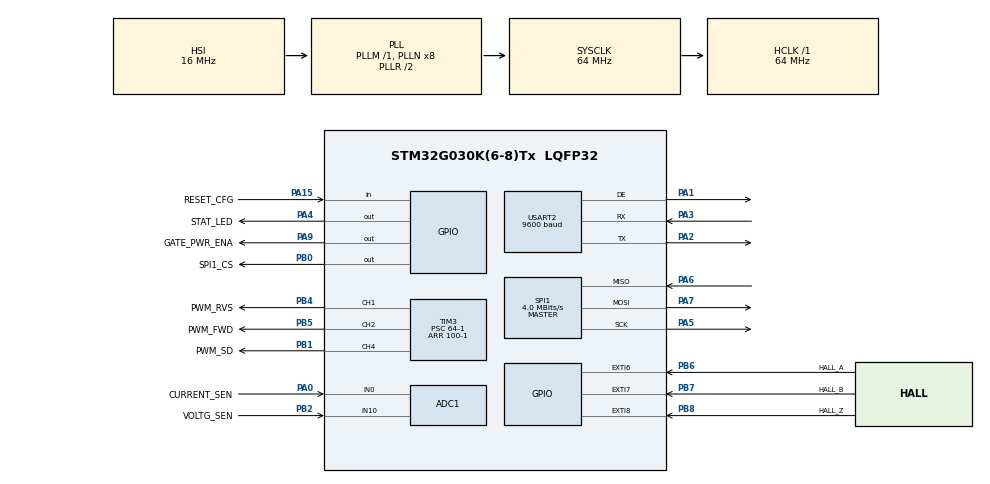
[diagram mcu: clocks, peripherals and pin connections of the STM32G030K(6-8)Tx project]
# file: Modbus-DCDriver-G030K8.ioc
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ADC1.Channel-0\#ChannelRegularConversion=ADC_CHANNEL_0
ADC1.ClockPrescaler=ADC_CLOCK_ASYNC_DIV1
ADC1.ContinuousConvMode=DISABLE
ADC1.DMAContinuousRequests=DISABLE
ADC1.EOCSelection=ADC_EOC_SINGLE_CONV
ADC1.EnableAnalogWatchDog1=false
ADC1.EnableAnalogWatchDog3=false
ADC1.NbrOfConversion=1
ADC1.NbrOfConversionFlag=1
ADC1.OversamplingMode=DISABLE
ADC1.Rank-0\#ChannelRegularConversion=1
ADC1.SamplingTime-0\#ChannelRegularConversion=ADC_SAMPLINGTIME_COMMON_1
ADC1.SamplingTimeCommon1=ADC_SAMPLETIME_12CYCLES_5
ADC1.SamplingTimeCommon2=ADC_SAMPLETIME_12CYCLES_5
ADC1.SelectedChannel=ADC_CHANNEL_0|ADC_CHANNEL_10
ADC1.master=1
Dma.Request0=TIM16_CH1
Dma.TIM16_CH1.0.Direction=DMA_MEMORY_TO_PERIPH
Dma.TIM16_CH1.0.EventEnable=DISABLE
Dma.TIM16_CH1.0.Instance=DMA1_Channel1
Dma.TIM16_CH1.0.MemDataAlignment=DMA_MDATAALIGN_WORD
Dma.TIM16_CH1.0.MemInc=DMA_MINC_ENABLE
Dma.TIM16_CH1.0.Mode=DMA_CIRCULAR
Dma.TIM16_CH1.0.PeriphDataAlignment=DMA_PDATAALIGN_WORD
Dma.TIM16_CH1.0.PeriphInc=DMA_PINC_DISABLE
Dma.TIM16_CH1.0.Polarity=HAL_DMAMUX_REQ_GEN_RISING
Dma.TIM16_CH1.0.Priority=DMA_PRIORITY_LOW
Dma.TIM16_CH1.0.RequestNumber=1
Dma.TIM16_CH1.0.SignalID=NONE
Dma.TIM16_CH1.0.SyncEnable=DISABLE
Dma.TIM16_CH1.0.SyncPolarity=HAL_DMAMUX_SYNC_NO_EVENT
Dma.TIM16_CH1.0.SyncRequestNumber=1
Dma.TIM16_CH1.0.SyncSignalID=NONE
Mcu.Family=STM32G0
Mcu.Name=STM32G030K(6-8)Tx
Mcu.Package=LQFP32
NVIC.ADC1_IRQn=true\:0\:0\:false\:false\:true\:true\:true\:true
NVIC.DMA1_Channel1_IRQn=true\:0\:0\:false\:false\:true\:false\:true\:true
NVIC.TIM14_IRQn=true\:0\:0\:false\:false\:true\:true\:true\:true
NVIC.TIM17_IRQn=true\:0\:0\:false\:false\:true\:true\:true\:true
NVIC.TIM3_IRQn=true\:0\:0\:false\:false\:true\:true\:true\:true
NVIC.USART2_IRQn=true\:0\:0\:false\:false\:true\:true\:true\:true
PA0.GPIO_Label=CURRENT_SEN
PA0.Mode=IN0
PA0.Signal=ADC1_IN0
PA1.GPIO_Mode=GPIO_MODE_AF_PP
PA1.GPIO_PuPd=GPIO_NOPULL
PA1.GPIO_Speed=GPIO_SPEED_FREQ_LOW
PA1.Mode=Hardware Flow Control (RS485)
PA1.PinState=GPIO_PIN_RESET
PA1.Signal=USART2_DE
PA13.Mode=Serial_Wire
PA13.Signal=SYS_SWDIO
PA14-BOOT0.Mode=Serial_Wire
PA14-BOOT0.Signal=SYS_SWCLK
PA15.GPIO_Label=RESET_CFG
PA15.Signal=GPIO_Input
PA2.GPIO_ModeDefaultPP=GPIO_MODE_AF_PP
PA2.GPIO_PuPd=GPIO_NOPULL
PA2.GPIO_Speed=GPIO_SPEED_FREQ_LOW
PA2.Mode=Asynchronous
PA2.PinState=GPIO_PIN_RESET
PA2.Signal=USART2_TX
PA3.GPIO_ModeDefaultPP=GPIO_MODE_AF_PP
PA3.GPIO_PuPd=GPIO_NOPULL
PA3.GPIO_Speed=GPIO_SPEED_FREQ_LOW
PA3.Mode=Asynchronous
PA3.PinState=GPIO_PIN_RESET
PA3.Signal=USART2_RX
PA4.GPIO_Label=STAT_LED
PA4.Signal=GPIO_Output
PA5.Mode=Full_Duplex_Master
PA5.Signal=SPI1_SCK
PA6.Mode=Full_Duplex_Master
PA6.Signal=SPI1_MISO
PA7.Mode=Full_Duplex_Master
PA7.Signal=SPI1_MOSI
PA9.GPIO_Label=GATE_PWR_ENA
PA9.Signal=GPIO_Output
PB0.GPIO_Label=SPI1_CS
PB0.Signal=GPIO_Output
PB1.GPIO_Label=PWM_SD
PB1.Signal=S_TIM3_CH4
PB2.GPIO_Label=VOLTG_SEN
PB2.Mode=IN10
PB2.Signal=ADC1_IN10
PB4.GPIO_Label=PWM_RVS
PB4.Signal=S_TIM3_CH1
PB5.GPIO_Label=PWM_FWD
PB5.Signal=S_TIM3_CH2
PB6.GPIO_Label=HALL_A
PB6.Signal=GPXTI6
PB7.GPIO_Label=HALL_B
PB7.Signal=GPXTI7
PB8.GPIO_Label=HALL_Z
PB8.Signal=GPXTI8
ProjectManager.HeapSize=0x200
ProjectManager.StackSize=0x400
ProjectManager.TargetToolchain=STM32CubeIDE
RCC.ADCFreq_Value=64000000
RCC.AHBFreq_Value=64000000
RCC.CortexFreq_Value=64000000
RCC.EXTERNAL_CLOCK_VALUE=12288000
RCC.HCLKFreq_Value=64000000
RCC.HSE_VALUE=8000000
RCC.HSI_VALUE=16000000
RCC.LSE_VALUE=32768
RCC.PREFETCH_ENABLE=0
RCC.SYSCLKFreq_VALUE=64000000
RCC.SYSCLKSource=RCC_SYSCLKSOURCE_PLLCLK
RCC.VCOOutputFreq_Value=128000000
SH.S_TIM3_CH1.0=TIM3_CH1,PWM Generation1 CH1
SH.S_TIM3_CH2.0=TIM3_CH2,PWM Generation2 CH2
SH.S_TIM3_CH4.0=TIM3_CH4,PWM Generation4 CH4
SPI1.BaudRatePrescaler=SPI_BAUDRATEPRESCALER_16
SPI1.CalculateBaudRate=4.0 MBits/s
SPI1.Direction=SPI_DIRECTION_2LINES
SPI1.Mode=SPI_MODE_MASTER
SPI1.VirtualType=VM_MASTER
TIM14.Prescaler=64-1
TIM16.Channel=TIM_CHANNEL_1
TIM16.Period=100
TIM17.AutoReloadPreload=TIM_AUTORELOAD_PRELOAD_ENABLE
TIM17.Period=6400-1
TIM17.Prescaler=1000-1
TIM3.AutoReloadPreload=TIM_AUTORELOAD_PRELOAD_ENABLE
TIM3.Channel-PWM\ Generation1\ CH1=TIM_CHANNEL_1
TIM3.Channel-PWM\ Generation2\ CH2=TIM_CHANNEL_2
TIM3.Channel-PWM\ Generation4\ CH4=TIM_CHANNEL_4
TIM3.Period=100-1
TIM3.Prescaler=64-1
USART2.BaudRate=9600
USART2.VirtualMode-Asynchronous=VM_ASYNC
USART2.VirtualMode-Hardware\ Flow\ Control\ (RS485)=VM_ASYNC
VP_TIM14_VS_ClockSourceINT.Mode=Enable_Timer
VP_TIM16_VS_ClockSourceINT.Mode=Enable_Timer
VP_TIM16_VS_no_output1.Mode=Output Compare1 No Output
VP_TIM17_VS_ClockSourceINT.Mode=Enable_Timer
VP_TIM3_VS_ClockSourceINT.Mode=Internal
board=custom

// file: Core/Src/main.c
/* USER CODE BEGIN Header */
/**
 ******************************************************************************
 *@file           : main.c
 *@brief          : Main program body
 ******************************************************************************
 *@attention
 *
 *Copyright (c) 2022 STMicroelectronics.
 *All rights reserved.
 *
 *This software is licensed under terms that can be found in the LICENSE file
 *in the root directory of this software component.
 *If no LICENSE file comes with this software, it is provided AS-IS.
 *
 ******************************************************************************
 */
/* USER CODE END Header */
#include "main.h"
#include "adc.h"
#include "dma.h"
#include "spi.h"
#include "tim.h"
#include "usart.h"
#include "gpio.h"

void SystemClock_Config(void);

/* USER CODE BEGIN 0 */
#ifdef __GNUC__
int __io_putchar(int ch)
#else
int fputc(int ch, FILE *f)
#endif /* __GNUC__ */
{
  HAL_UART_Transmit(&huart2, (uint8_t *)&ch, 1, HAL_MAX_DELAY);
  return ch;
}

#include "../../modbus/mb.h"
#include "../../modbus/mbport.h"
#define REG_HOLDING_START 1
#define REG_HOLDING_NREGS 22
static USHORT usRegHoldingStart = REG_HOLDING_START;
static USHORT usRegHoldingBuf[REG_HOLDING_NREGS];

enum
{
    HREG_DCMOTOR_RUN,
    HREG_DCMOTOR_DIRECTION,
    HREG_DCMOTOR_SET_ELAPSED_TIME,
    HREG_DCMOTOR_SET_SPEED,
    HREG_DCMOTOR_SET_LIMIT_VOLTAGE,
    HREG_DCMOTOR_SET_LIMIT_CURRENT,
    HREG_DCMOTOR_GET_CURRENT_SPEED,
    HREG_DCMOTOR_GET_VOLTAGE,
    HREG_DCMOTOR_GET_CURRENT,
    HREG_DCMOTOR_GET_RESISTANCE,
    HREG_DCMOTOR_GET_TEMPERATURE,
    HREG_MODBUS_ADDRESS,
    HREG_MODBUS_BAUDRATE
} holdingRegs_t;

#define SECTOR_MODBUS_ADDRESS 1
#include "../../w25qxx/w25qxx.h"

#include "../../MedianFilter/MedianFilter.h"

/**
 *@brief Get the Modbus Device Address object.
 *If not present, default address = 80.
 *
 *@return int
 */
int getDeviceAddress()
{
    uint8_t mb_default_address[] = "80";
    uint8_t sector_cont[sizeof(mb_default_address) - 1];
    if (W25qxx_IsEmptySector(SECTOR_MODBUS_ADDRESS, sizeof(mb_default_address), sizeof(mb_default_address) - 1) == false)
        W25qxx_ReadSector(sector_cont, SECTOR_MODBUS_ADDRESS, sizeof(mb_default_address), sizeof(mb_default_address) - 1);

    else memcpy(sector_cont, mb_default_address, sizeof(mb_default_address) - 1);

    uint8_t v[sizeof(sector_cont)];
    memcpy(v, sector_cont, sizeof(sector_cont));
    return atoi(v);
}

/**
 *@brief Write the Modbus Device Address object.
 *
 *@param new_address
 */
void writeDeviceAddress(char new_address[])
{
    W25qxx_EraseSector(SECTOR_MODBUS_ADDRESS);
    W25qxx_WriteSector(new_address, SECTOR_MODBUS_ADDRESS, SECTOR_MODBUS_ADDRESS + strlen(new_address), strlen(new_address));

    HAL_Delay(50);
   	Error_Handler();
}

uint32_t millis()
{
    return HAL_GetTick();
}

// void millis(uint16_t us)
// {
//     __HAL_TIM_SET_COUNTER(&htim17, 0);
//     while (__HAL_TIM_GET_COUNTER(&htim17) < us);
// }

uint16_t rawCurrent, rawVoltage;
volatile int adcSwitch = 1;

#include "../../DCMotor/DCMotor.h"

void HAL_TIM_PeriodElapsedCallback(TIM_HandleTypeDef* htim)
{
    if(htim->Instance == TIM17)
    {
        adcSwitch = !adcSwitch;
        if (adcSwitch == 1)
        {
            rawVoltage = HAL_ADC_GetValue(&adc_handle);
            HAL_ADC_Stop(&adc_handle);
            DCMotor_GetSensor(0, 100);
        }
        else
        {
            rawCurrent = HAL_ADC_GetValue(&adc_handle);
            HAL_ADC_Stop(&adc_handle);
            DCMotor_GetSensor(1, 100);
        }
    }
}

/* USER CODE END 0 */

int main(void)
{

  /* MCU Configuration--------------------------------------------------------*/

  /* Reset of all peripherals, Initializes the Flash interface and the Systick. */
  HAL_Init();

  /* Configure the system clock */
  SystemClock_Config();

  /* Initialize all configured peripherals */
  MX_GPIO_Init();
  MX_ADC1_Init();
  MX_SPI1_Init();
  MX_DMA_Init();
  MX_USART2_UART_Init();
  MX_TIM14_Init();
  MX_TIM16_Init();
  MX_TIM3_Init();
  MX_TIM17_Init();
  /* USER CODE BEGIN 2 */

    // printf("hello\r\n");
    HAL_ADCEx_Calibration_Start(&hadc1);
    W25qxx_Init();

    HAL_GPIO_WritePin(GATE_PWR_ENA_GPIO_Port, GATE_PWR_ENA_Pin, 1);

    DCMotor_Init();
    // DCMotor_CalibrateCurrent(30, 50);

    // int i_max = DCMotor_GetMaxCurrentFilter();
    // DCMotor_SetCurrentLimit(i_max);
    // printf("i max: %ld\r\n", i_max);
    // HAL_Delay(2000);

    // MedianFilter_In(motor.current_filter, HAL_ADC_GetValue(&sensor_adc));

    for (size_t i = 0; i < REG_HOLDING_NREGS; i++) usRegHoldingBuf[i] = 0;
    eMBInit(MB_RTU, 2, 3, 9600, MB_PAR_NONE);
    eMBEnable();

    // DCMotor_SetAcceleration(1000);

    // DCMotor_SetDirection(0);
    // DCMotor_SetSpeed(30);
    // DCMotor_Update();
    // DCMotor_Stop();

    // DCMotor_SetDirection(1);
    // DCMotor_SetSpeed(30);
    // DCMotor_Update();
    // DCMotor_Stop();

    // HAL_Delay(10);
    // HAL_TIM_Base_Start_IT(&htim17);
    // uint32_t previousMillis = 0;

  /* USER CODE END 2 */

  /* Infinite loop */
  /* USER CODE BEGIN WHILE */
    while (1)
    {
        // printf("adc0 = %d\tadc1 = %d\r\n", rawCurrent, rawVoltage);

        // MedianFilter_In(motor.current_filter, DCMotor_GetCurrentValue());
        // int i_out = MedianFilter_Out(motor.current_filter);
        // printf("v:%ld\t i:%ld\t i_max:%ld\r\n", DCMotor_GetVoltageValue(), i_out, i_max);

        // if (i_max < i_out)
        // {
        //     DCMotor_Brake();
        //     printf("hit max current\r\n");
        //     break;
        // }

        // HAL_Delay(50);

        // uint32_t currentMillis = millis();
        // if (currentMillis - previousMillis >= 1000)
        // {
        //     previousMillis = currentMillis;
        //     printf("fil curr: %i\r\n", filter->out(filter));
        //     // printf("%i\r\n", filter->getMax(filter));
        //     printf("nofil curr: %f\r\n", res);
        //     printf("\r\n");
        // }

        // // printf("\r\n");
        // HAL_Delay(100);

        eMBPoll();
        DCMotor_Update();

        // if (usRegHoldingBuf[HREG_DCMOTOR_RUN] == 1) DCMotor_Update();
        // else
        // {
        //     DCMotor_Stop();
        //     DCMotor_Reset();
        // }
    /* USER CODE END WHILE */

    }
}

void SystemClock_Config(void)
{
  RCC_OscInitTypeDef RCC_OscInitStruct = {0};
  RCC_ClkInitTypeDef RCC_ClkInitStruct = {0};

  /** Configure the main internal regulator output voltage
  */
  HAL_PWREx_ControlVoltageScaling(PWR_REGULATOR_VOLTAGE_SCALE1);

  /** Initializes the RCC Oscillators according to the specified parameters
  * in the RCC_OscInitTypeDef structure.
  */
  RCC_OscInitStruct.OscillatorType = RCC_OSCILLATORTYPE_HSI;
  RCC_OscInitStruct.HSIState = RCC_HSI_ON;
  RCC_OscInitStruct.HSIDiv = RCC_HSI_DIV1;
  RCC_OscInitStruct.HSICalibrationValue = RCC_HSICALIBRATION_DEFAULT;
  RCC_OscInitStruct.PLL.PLLState = RCC_PLL_ON;
  RCC_OscInitStruct.PLL.PLLSource = RCC_PLLSOURCE_HSI;
  RCC_OscInitStruct.PLL.PLLM = RCC_PLLM_DIV1;
  RCC_OscInitStruct.PLL.PLLN = 8;
  RCC_OscInitStruct.PLL.PLLP = RCC_PLLP_DIV2;
  RCC_OscInitStruct.PLL.PLLR = RCC_PLLR_DIV2;
  if (HAL_RCC_OscConfig(&RCC_OscInitStruct) != HAL_OK)
  {
    Error_Handler();
  }

  /** Initializes the CPU, AHB and APB buses clocks
  */
  RCC_ClkInitStruct.ClockType = RCC_CLOCKTYPE_HCLK|RCC_CLOCKTYPE_SYSCLK
                              |RCC_CLOCKTYPE_PCLK1;
  RCC_ClkInitStruct.SYSCLKSource = RCC_SYSCLKSOURCE_PLLCLK;
  RCC_ClkInitStruct.AHBCLKDivider = RCC_SYSCLK_DIV1;
  RCC_ClkInitStruct.APB1CLKDivider = RCC_HCLK_DIV1;

  if (HAL_RCC_ClockConfig(&RCC_ClkInitStruct, FLASH_LATENCY_2) != HAL_OK)
  {
    Error_Handler();
  }
}

/* USER CODE BEGIN 4 */

/**
 *@brief Fetching modbus holding register data.
 *
 *@param iRegIndex
 *@return uint8_t
 */
uint8_t fetchHoldingRegsData(int iRegIndex)
{
    uint8_t numUs = 1;
    switch (iRegIndex)
    {
        case HREG_DCMOTOR_RUN:
            usRegHoldingBuf[HREG_DCMOTOR_RUN] = DCMotor_Status();
            break;
        case HREG_DCMOTOR_DIRECTION:
            usRegHoldingBuf[HREG_DCMOTOR_DIRECTION] = DCMotor_GetDirectionValue();
            break;
        case HREG_DCMOTOR_SET_ELAPSED_TIME:
            usRegHoldingBuf[HREG_DCMOTOR_SET_ELAPSED_TIME] = DCMotor_GetElapsedTime();
            break;
        case HREG_DCMOTOR_SET_SPEED:
            break;
        case HREG_DCMOTOR_SET_LIMIT_VOLTAGE:
            usRegHoldingBuf[HREG_DCMOTOR_SET_LIMIT_VOLTAGE] = DCMotor_GetVoltageLimit();
            break;
        case HREG_DCMOTOR_SET_LIMIT_CURRENT:
            usRegHoldingBuf[HREG_DCMOTOR_SET_LIMIT_CURRENT] = DCMotor_GetCurrentLimit();
            break;
        case HREG_DCMOTOR_GET_CURRENT_SPEED:
            usRegHoldingBuf[HREG_DCMOTOR_GET_CURRENT_SPEED] = DCMotor_GetCurrentSpeed();
            break;
        case HREG_DCMOTOR_GET_VOLTAGE:
            usRegHoldingBuf[HREG_DCMOTOR_GET_VOLTAGE] = DCMotor_GetVoltageValue();
            break;
        case HREG_DCMOTOR_GET_CURRENT:
            usRegHoldingBuf[HREG_DCMOTOR_GET_CURRENT] = DCMotor_GetFilteredCurrent();
            break;
        case HREG_DCMOTOR_GET_RESISTANCE:
            usRegHoldingBuf[HREG_DCMOTOR_GET_RESISTANCE] = DCMotor_GetResistanceValue();
            break;
        case HREG_DCMOTOR_GET_TEMPERATURE:
            break;
        case HREG_MODBUS_ADDRESS:
            break;
        case HREG_MODBUS_BAUDRATE:
            break;
        default:
            numUs = 0;
            break;
    }
    return numUs;
}

/**
 *@brief Writing modbus holding registers.
 *
 *@param iRegIndex
 *@param tempReg
 */
void writeHoldingRegs(int iRegIndex, uint16_t tempReg)
{
    switch (iRegIndex)
    {
        case HREG_DCMOTOR_RUN:
            if(tempReg > 1) break;
            if(tempReg == 1) DCMotor_Start();
            else DCMotor_Stop();
            break;
        case HREG_DCMOTOR_DIRECTION:
            if(tempReg > 1) break;
            DCMotor_HoldSpeed(DCMotor_GetCurrentSpeed());
            DCMotor_SetDirection(tempReg);
            DCMotor_SetSpeed(0);
            break;
        case HREG_DCMOTOR_SET_ELAPSED_TIME:
            DCMotor_SetElapsedTime(tempReg);
            break;
        case HREG_DCMOTOR_SET_SPEED:
            if(tempReg > 100) break;
            usRegHoldingBuf[HREG_DCMOTOR_SET_SPEED] = tempReg;
            DCMotor_HoldSpeed(DCMotor_GetCurrentSpeed());
            if(tempReg == 0) DCMotor_Stop();
            DCMotor_SetSpeed(tempReg);
            break;
        case HREG_DCMOTOR_SET_LIMIT_VOLTAGE:
            DCMotor_SetVoltageLimit(tempReg);
            break;
        case HREG_DCMOTOR_SET_LIMIT_CURRENT:
            DCMotor_SetCurrentLimit(tempReg);
            break;
        // case HREG_MODBUS_ADDRESS:
        //     break;
        // case HREG_MODBUS_BAUDRATE:
        //     break;

        // case HREG_NEW_MODBUS_ADDRESS:
        //     if (tempReg < 10 || tempReg > 99) break;
        //     usRegHoldingBuf[HREG_NEW_MODBUS_ADDRESS] = tempReg;
        //     char value[3];
        //    	writeDeviceAddress(itoa(usRegHoldingBuf[HREG_NEW_MODBUS_ADDRESS], value, 10));
        //     break;

        default:
           	// usRegHoldingBuf[iRegIndex] = tempReg;
            break;
    }
}

eMBErrorCode eMBRegHoldingCB(UCHAR *pucRegBuffer, USHORT usAddress, USHORT usNRegs, eMBRegisterMode eMode)
{
    eMBErrorCode eStatus = MB_ENOERR;
    int iRegIndex;

    if (eMode == MB_REG_READ)
    {
        if ((usAddress >= REG_HOLDING_START) &&
            (usAddress + usNRegs <= REG_HOLDING_START + REG_HOLDING_NREGS))
        {
            iRegIndex = (int)(usAddress - usRegHoldingStart);
            while (usNRegs > 0)
            {
                uint8_t numUs = fetchHoldingRegsData(iRegIndex);
                if (numUs < 1)
                {
                    return MB_ENORES;
                }

                for (size_t i = 0; i < numUs; ++i)
                {
                    if (usNRegs > 0)
                    {
                        *pucRegBuffer++ = (unsigned char)(usRegHoldingBuf[iRegIndex] >> 8);
                        *pucRegBuffer++ = (unsigned char)(usRegHoldingBuf[iRegIndex] &0xFF);
                        iRegIndex++;
                        usNRegs--;
                    }
                    else
                    {
                        return MB_ENORES;
                    }
                }
            }
        }
        else
        {
            eStatus = MB_ENOREG;
        }
    }

    if (eMode == MB_REG_WRITE)
    {
        if ((usAddress >= REG_HOLDING_START) && (usAddress + usNRegs <= REG_HOLDING_START + REG_HOLDING_NREGS))
        {
            iRegIndex = (int)(usAddress - usRegHoldingStart);

            while (usNRegs > 0)
            {
                writeHoldingRegs(iRegIndex, (USHORT)(((unsigned int) *pucRegBuffer << 8) | ((unsigned int) *(pucRegBuffer + 1))));
                pucRegBuffer += 2;
                usNRegs--;
                iRegIndex++;
            }
        }
        else eStatus = MB_ENOREG;
    }

    return eStatus;
}

eMBErrorCode eMBRegInputCB(UCHAR *pucRegBuffer, USHORT usAddress, USHORT usNRegs)
{
    return MB_ENOREG;
}

eMBErrorCode eMBRegCoilsCB(UCHAR *pucRegBuffer, USHORT usAddress, USHORT usNCoils, eMBRegisterMode eMode)
{
    return MB_ENOREG;
}

eMBErrorCode eMBRegDiscreteCB(UCHAR *pucRegBuffer, USHORT usAddress, USHORT usNDiscrete)
{
    return MB_ENOREG;
}

/* USER CODE END 4 */

void Error_Handler(void)
{
  /* USER CODE BEGIN Error_Handler_Debug */
    /*User can add his own implementation to report the HAL error return state */
    __disable_irq();
    HAL_NVIC_SystemReset();
  /* USER CODE END Error_Handler_Debug */
}

#ifdef  USE_FULL_ASSERT
/**
  * @brief  Reports the name of the source file and the source line number
  *         where the assert_param error has occurred.
  * @param  file: pointer to the source file name
  * @param  line: assert_param error line source number
  * @retval None
  */
void assert_failed(uint8_t *file, uint32_t line)
{
  /* USER CODE BEGIN 6 */
    /*User can add his own implementation to report the file name and line number,
       ex: printf("Wrong parameters value: file %s on line %d\r\n", file, line) */
  /* USER CODE END 6 */
}
#endif /* USE_FULL_ASSERT */
